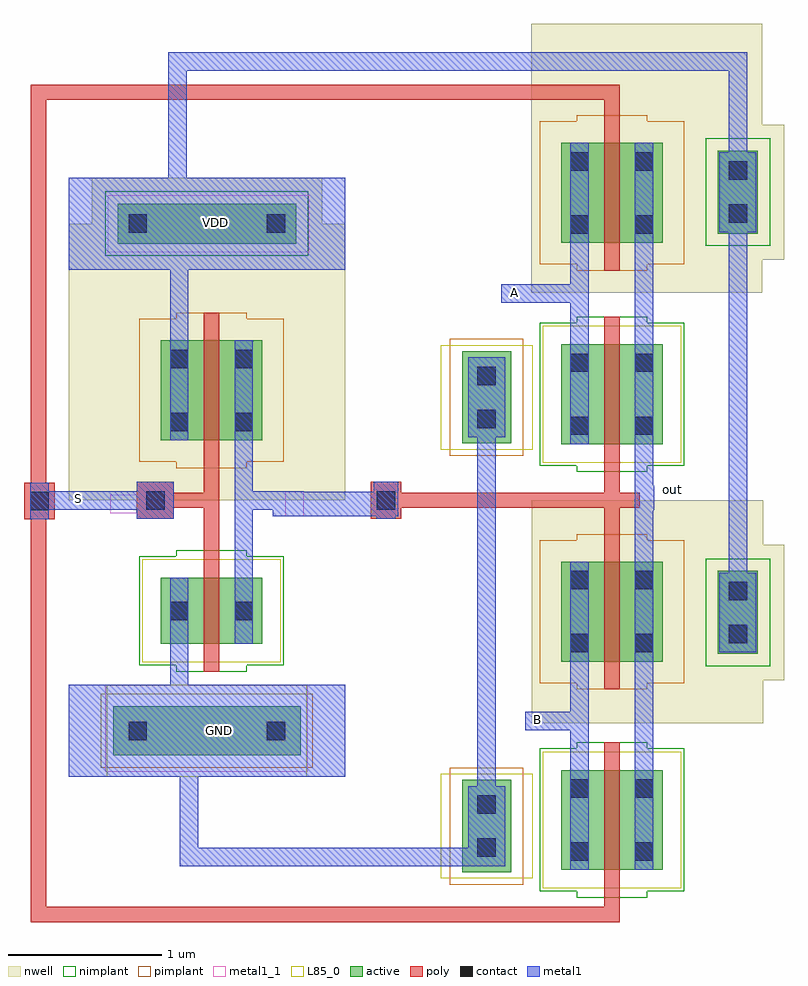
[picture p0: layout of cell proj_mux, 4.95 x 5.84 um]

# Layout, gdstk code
from math import pi, radians
import gdstk
lib = gdstk.Library(unit=1e-6, precision=5e-10)
def R(c, l, rs):  # rectangles x0, y0, x1, y1
    for r in rs: c.add(gdstk.rectangle(r[:2], r[2:], *l))
active = (1, 0)
nwell = (2, 0)
poly = (3, 0)
nimplant = (4, 0)
pimplant = (5, 0)
contact = (6, 0)
metal1 = (7, 0)
metal1_1 = (7, 1)
L85_0 = (85, 0)

pmos1v_cdns_591080892930 = lib.new_cell('pmos1v_CDNS_591080892930')
R(pmos1v_cdns_591080892930, active, [(-0.28,0,0,0.65), (0,0,0.1,0.65), (0.1,0,0.38,0.65)])
R(pmos1v_cdns_591080892930, nwell, [(-0.4,-0.12,0.5,0.77)])
R(pmos1v_cdns_591080892930, poly, [(0,-0.18,0.1,-0.1), (0,-0.1,0.1,0), (0,0,0.1,0.65), (0,0.65,0.1,0.75), (0,0.75,0.1,0.83)])
R(pmos1v_cdns_591080892930, pimplant, [(-0.18,-0.18,0.28,0.83), (-0.42,-0.14,0.52,0.79)])
R(pmos1v_cdns_591080892930, contact, [(-0.22,0.06,-0.1,0.18), (0.2,0.06,0.32,0.18), (-0.22,0.47,-0.1,0.59), (0.2,0.47,0.32,0.59)])
R(pmos1v_cdns_591080892930, metal1, [(-0.22,0,-0.1,0.65), (0.2,0,0.32,0.65)])

nmos1v_cdns_591080892931 = lib.new_cell('nmos1v_CDNS_591080892931')
R(nmos1v_cdns_591080892931, active, [(-0.28,0,0,0.65), (0,0,0.1,0.65), (0.1,0,0.38,0.65)])
R(nmos1v_cdns_591080892931, poly, [(0,-0.18,0.1,-0.1), (0,-0.1,0.1,0), (0,0,0.1,0.65), (0,0.65,0.1,0.75), (0,0.75,0.1,0.83)])
R(nmos1v_cdns_591080892931, nimplant, [(-0.18,-0.18,0.28,0.83), (-0.42,-0.14,0.52,0.79)])
R(nmos1v_cdns_591080892931, contact, [(-0.22,0.06,-0.1,0.18), (0.2,0.06,0.32,0.18), (-0.22,0.47,-0.1,0.59), (0.2,0.47,0.32,0.59)])
R(nmos1v_cdns_591080892931, metal1, [(-0.22,0,-0.1,0.65), (0.2,0,0.32,0.65)])
R(nmos1v_cdns_591080892931, L85_0, [(-0.4,-0.12,0.5,0.77)])

nmos1v_cdns_591080892932 = lib.new_cell('nmos1v_CDNS_591080892932')
R(nmos1v_cdns_591080892932, active, [(-0.28,0,0,0.43), (0,0,0.1,0.43), (0.1,0,0.38,0.43)])
R(nmos1v_cdns_591080892932, poly, [(0,-0.18,0.1,-0.1), (0,-0.1,0.1,0), (0,0,0.1,0.43), (0,0.43,0.1,0.53), (0,0.53,0.1,0.61)])
R(nmos1v_cdns_591080892932, nimplant, [(-0.18,-0.18,0.28,0.61), (-0.42,-0.14,0.52,0.57)])
R(nmos1v_cdns_591080892932, contact, [(-0.22,0.155,-0.1,0.275), (0.2,0.155,0.32,0.275)])
R(nmos1v_cdns_591080892932, metal1, [(-0.22,0,-0.1,0.43), (0.2,0,0.32,0.43)])
R(nmos1v_cdns_591080892932, L85_0, [(-0.4,-0.12,0.5,0.55)])

m1_pov_cdns_591080892933 = lib.new_cell('M1_POv_CDNS_591080892933')
R(m1_pov_cdns_591080892933, poly, [(-0.12,-0.12,0.12,0.12)])
R(m1_pov_cdns_591080892933, contact, [(-0.06,-0.06,0.06,0.06)])
R(m1_pov_cdns_591080892933, metal1, [(-0.12,-0.12,0.12,0.12)])

m1_psub_cdns_59108089293 = lib.new_cell('M1_PSUB_CDNS_591080892934')
R(m1_psub_cdns_59108089293, active, [(-0.61,-0.16,0.61,0.16)])
R(m1_psub_cdns_59108089293, pimplant, [(-0.69,-0.24,0.69,0.24)])
R(m1_psub_cdns_59108089293, contact, [(-0.51,-0.06,-0.39,0.06), (0.39,-0.06,0.51,0.06)])
R(m1_psub_cdns_59108089293, metal1, [(-0.57,-0.12,0.57,0.12)])
R(m1_psub_cdns_59108089293, L85_0, [(-0.65,-0.3,0.65,0.3)])

m1_nwell_cdns_5910808929 = lib.new_cell('M1_NWELL_CDNS_591080892935')
R(m1_nwell_cdns_5910808929, active, [(-0.58,-0.13,0.58,0.13)])
R(m1_nwell_cdns_5910808929, nwell, [(-0.75,-0.3,0.75,0.3)])
R(m1_nwell_cdns_5910808929, nimplant, [(-0.66,-0.21,0.66,0.21)])
R(m1_nwell_cdns_5910808929, contact, [(-0.51,-0.06,-0.39,0.06), (0.39,-0.06,0.51,0.06)])
R(m1_nwell_cdns_5910808929, metal1, [(-0.57,-0.12,0.57,0.12)])

unit_inv = lib.new_cell('unit_INV')
R(unit_inv, nwell, [(0,1.8,1.8,3.6)])
R(unit_inv, metal1, [(0,0,1.8,0.6), (0,3.3,1.8,3.9)])
R(unit_inv, metal1_1, [(0.24,0.035,1.555,0.595), (1.41,1.695,1.53,1.855), (0.27,1.715,0.445,1.835), (0.255,3.415,1.565,3.785)])
unit_inv.add(gdstk.FlexPath([(0.275,1.8),(0.62,1.8)], 0.12, ends="flush", simple_path=True, layer=7, datatype=0))  # metal1
unit_inv.add(gdstk.FlexPath([(0.72,0.895),(0.72,0.3)], 0.12, ends="flush", simple_path=True, layer=7, datatype=0))  # metal1
unit_inv.add(gdstk.FlexPath([(0.72,2.82),(0.72,3.6)], 0.12, ends="flush", simple_path=True, layer=7, datatype=0))  # metal1
unit_inv.add(gdstk.FlexPath([(1.14,1.8),(1.53,1.8)], 0.12, ends=(0.06, 0), simple_path=True, layer=7, datatype=0))  # metal1
unit_inv.add(gdstk.FlexPath([(1.14,1.8),(1.14,1.225)], 0.12, ends="extended", simple_path=True, layer=7, datatype=0))  # metal1
unit_inv.add(gdstk.FlexPath([(1.14,1.225),(1.145,1.225)], 0.12, ends=(0.06, 0), simple_path=True, layer=7, datatype=0))  # metal1
unit_inv.add(gdstk.FlexPath([(1.14,2.21),(1.14,1.8)], 0.12, ends=(0, 0.06), simple_path=True, layer=7, datatype=0))  # metal1
unit_inv.add(gdstk.FlexPath([(0.93,1.8),(0.45,1.8)], 0.1, ends=(0.05, 0), simple_path=True, layer=3, datatype=0))  # poly
unit_inv.add(gdstk.FlexPath([(0.93,1.8),(0.93,1.425)], 0.1, ends="extended", simple_path=True, layer=3, datatype=0))  # poly
unit_inv.add(gdstk.FlexPath([(0.93,1.425),(0.925,1.425)], 0.1, ends=(0.05, 0), simple_path=True, layer=3, datatype=0))  # poly
unit_inv.add(gdstk.FlexPath([(0.93,2.03),(0.93,1.8)], 0.1, ends=(0, 0.05), simple_path=True, layer=3, datatype=0))  # poly
unit_inv.add(gdstk.Reference(nmos1v_cdns_591080892932, (0.88,0.865)))
unit_inv.add(gdstk.Reference(pmos1v_cdns_591080892930, (0.88,2.19)))
unit_inv.add(gdstk.Reference(m1_pov_cdns_591080892933, (0.565,1.8)))
unit_inv.add(gdstk.Reference(m1_psub_cdns_59108089293, (0.9,0.3)))
unit_inv.add(gdstk.Reference(m1_nwell_cdns_5910808929, (0.9,3.6)))
unit_inv.add(gdstk.Label('in', (0.1525,1.775), layer=63, texttype=0))
unit_inv.add(gdstk.Label('out', (1.635,1.775), layer=63, texttype=0))
unit_inv.add(gdstk.Label('GND', (0.8975,0.315), layer=63, texttype=0))
unit_inv.add(gdstk.Label('VDD', (0.91,3.6), layer=63, texttype=0))

m1_pov_cdns_591080892930 = lib.new_cell('M1_POv_CDNS_591080892930')
R(m1_pov_cdns_591080892930, poly, [(-0.1,-0.12,0.1,0.12)])
R(m1_pov_cdns_591080892930, contact, [(-0.06,-0.06,0.06,0.06)])
R(m1_pov_cdns_591080892930, metal1, [(-0.06,-0.12,0.06,0.12)])

c_m1_nwell_cdns_5910808929 = lib.new_cell('M1_NWELL_CDNS_591080892931')
R(c_m1_nwell_cdns_5910808929, active, [(-0.13,-0.27,0.13,0.27)])
R(c_m1_nwell_cdns_5910808929, nwell, [(-0.3,-0.44,0.3,0.44)])
R(c_m1_nwell_cdns_5910808929, nimplant, [(-0.21,-0.35,0.21,0.35)])
R(c_m1_nwell_cdns_5910808929, contact, [(-0.06,-0.2,0.06,-0.08), (-0.06,0.08,0.06,0.2)])
R(c_m1_nwell_cdns_5910808929, metal1, [(-0.12,-0.26,0.12,0.26)])

c_m1_psub_cdns_59108089293 = lib.new_cell('M1_PSUB_CDNS_591080892932')
R(c_m1_psub_cdns_59108089293, active, [(-0.16,-0.3,0.16,0.3)])
R(c_m1_psub_cdns_59108089293, pimplant, [(-0.24,-0.38,0.24,0.38)])
R(c_m1_psub_cdns_59108089293, contact, [(-0.06,-0.2,0.06,-0.08), (-0.06,0.08,0.06,0.2)])
R(c_m1_psub_cdns_59108089293, metal1, [(-0.12,-0.26,0.12,0.26)])
R(c_m1_psub_cdns_59108089293, L85_0, [(-0.3,-0.34,0.3,0.34)])

proj_mux = lib.new_cell('proj_mux')
R(proj_mux, nwell, [(3.425,1.35,4.93,2.8), (3.42,4.15,4.925,5.9)])
R(proj_mux, metal1, [(0.8,1.07,2.07,1.515), (3.38,1.305,3.53,1.415), (4.095,2.735,4.22,2.895), (0.395,2.74,0.56,2.86), (3.225,4.085,3.41,4.205), (0.83,4.435,2.04,4.735)])
proj_mux.add(gdstk.FlexPath([(2.755,2.8),(2.475,2.8)], 0.1, ends="flush", simple_path=True, layer=3, datatype=0))  # poly
proj_mux.add(gdstk.FlexPath([(3.945,5.1),(3.945,5.455)], 0.1, ends=(0, 0.05), simple_path=True, layer=3, datatype=0))  # poly
proj_mux.add(gdstk.FlexPath([(3.945,0.105),(3.945,0.445)], 0.1, ends=(0.05, 0), simple_path=True, layer=3, datatype=0))  # poly
proj_mux.add(gdstk.FlexPath([(0.215,0.105),(3.945,0.105)], 0.1, ends="extended", simple_path=True, layer=3, datatype=0))  # poly
proj_mux.add(gdstk.FlexPath([(0.215,5.455),(0.215,0.105)], 0.1, ends="extended", simple_path=True, layer=3, datatype=0))  # poly
proj_mux.add(gdstk.FlexPath([(0.22,2.9),(0.22,2.685)], 0.1, ends="flush", simple_path=True, layer=3, datatype=0))  # poly
proj_mux.add(gdstk.FlexPath([(3.945,5.455),(0.215,5.455)], 0.1, ends="extended", simple_path=True, layer=3, datatype=0))  # poly
proj_mux.add(gdstk.FlexPath([(3.41,2.8),(2.755,2.8)], 0.1, ends="flush", simple_path=True, layer=3, datatype=0))  # poly
proj_mux.add(gdstk.FlexPath([(3.575,2.8),(2.815,2.8)], 0.1, ends="flush", simple_path=True, layer=3, datatype=0))  # poly
proj_mux.add(gdstk.FlexPath([(4.125,2.8),(3.575,2.8)], 0.1, ends="flush", simple_path=True, layer=3, datatype=0))  # poly
proj_mux.add(gdstk.FlexPath([(3.945,3),(3.945,2.495)], 0.1, ends="flush", simple_path=True, layer=3, datatype=0))  # poly
proj_mux.add(gdstk.FlexPath([(4.765,2.07),(4.765,4.805)], 0.12, ends="flush", simple_path=True, layer=7, datatype=0))  # metal1
proj_mux.add(gdstk.FlexPath([(1.12,5.655),(1.12,4.415)], 0.12, ends=(0.06, 0), simple_path=True, layer=7, datatype=0))  # metal1
proj_mux.add(gdstk.FlexPath([(4.765,5.655),(1.12,5.655)], 0.12, ends="extended", simple_path=True, layer=7, datatype=0))  # metal1
proj_mux.add(gdstk.FlexPath([(4.765,4.805),(4.765,5.655)], 0.12, ends=(0, 0.06), simple_path=True, layer=7, datatype=0))  # metal1
proj_mux.add(gdstk.FlexPath([(2.475,2.8),(2.475,2.775)], 0.16, ends=(0.12, 0.08), simple_path=True, layer=7, datatype=0))  # metal1
proj_mux.add(gdstk.FlexPath([(2.475,2.775),(1.74,2.775)], 0.16, ends=(0.08, 0), simple_path=True, layer=7, datatype=0))  # metal1
proj_mux.add(gdstk.FlexPath([(1.195,0.48),(1.195,1.515)], 0.12, ends=(0.06, 0), simple_path=True, layer=7, datatype=0))  # metal1
proj_mux.add(gdstk.FlexPath([(2.97,0.48),(1.195,0.48)], 0.12, ends=(0.12, 0.06), simple_path=True, layer=7, datatype=0))  # metal1
proj_mux.add(gdstk.FlexPath([(3.735,1.365),(3.735,1.75)], 0.12, ends=(0.06, 0), simple_path=True, layer=7, datatype=0))  # metal1
proj_mux.add(gdstk.FlexPath([(3.13,0.68),(3.13,3.47)], 0.12, ends="flush", simple_path=True, layer=7, datatype=0))  # metal1
proj_mux.add(gdstk.FlexPath([(3.735,0.99),(3.735,1.365)], 0.12, ends=(0, 0.06), simple_path=True, layer=7, datatype=0))  # metal1
proj_mux.add(gdstk.FlexPath([(3.735,1.365),(3.38,1.365)], 0.12, ends=(0.06, 0), simple_path=True, layer=7, datatype=0))  # metal1
proj_mux.add(gdstk.FlexPath([(3.735,4.145),(3.225,4.145)], 0.12, ends=(0.06, 0), simple_path=True, layer=7, datatype=0))  # metal1
proj_mux.add(gdstk.FlexPath([(3.735,4.145),(3.735,3.755)], 0.12, ends="extended", simple_path=True, layer=7, datatype=0))  # metal1
proj_mux.add(gdstk.FlexPath([(3.735,3.755),(3.675,3.755)], 0.12, ends=(0.06, 0), simple_path=True, layer=7, datatype=0))  # metal1
proj_mux.add(gdstk.FlexPath([(3.735,4.53),(3.735,4.145)], 0.12, ends=(0, 0.06), simple_path=True, layer=7, datatype=0))  # metal1
proj_mux.add(gdstk.FlexPath([(0.22,2.8),(0.22,2.77)], 0.12, ends=(0.06, 0), simple_path=True, layer=7, datatype=0))  # metal1
proj_mux.add(gdstk.FlexPath([(0.8,2.8),(0.22,2.8)], 0.12, ends=(0, 0.06), simple_path=True, layer=7, datatype=0))  # metal1
proj_mux.add(gdstk.FlexPath([(4.155,1.865),(4.155,1.045)], 0.12, ends="flush", simple_path=True, layer=7, datatype=0))  # metal1
proj_mux.add(gdstk.FlexPath([(4.155,3.255),(4.155,2.4)], 0.12, ends="flush", simple_path=True, layer=7, datatype=0))  # metal1
proj_mux.add(gdstk.FlexPath([(4.155,4.475),(4.155,3.815)], 0.12, ends="flush", simple_path=True, layer=7, datatype=0))  # metal1
proj_mux.add(gdstk.FlexPath([(3.13,0.68),(3.13,0.48)], 0.24, ends=(0, 0.06), simple_path=True, layer=7, datatype=0))  # metal1
proj_mux.add(gdstk.Reference(pmos1v_cdns_591080892930, (3.995,1.75), rotation=pi, x_reflection=True))
proj_mux.add(gdstk.Reference(pmos1v_cdns_591080892930, (3.995,4.475), rotation=pi, x_reflection=True))
proj_mux.add(gdstk.Reference(nmos1v_cdns_591080892931, (3.995,0.395), rotation=pi, x_reflection=True))
proj_mux.add(gdstk.Reference(nmos1v_cdns_591080892931, (3.995,3.165), rotation=pi, x_reflection=True))
proj_mux.add(gdstk.Reference(unit_inv, (0.41,1)))
proj_mux.add(gdstk.Reference(m1_pov_cdns_591080892930, (0.22,2.795)))
proj_mux.add(gdstk.Reference(m1_pov_cdns_591080892930, (2.475,2.8)))
proj_mux.add(gdstk.Reference(c_m1_nwell_cdns_5910808929, (4.765,2.07)))
proj_mux.add(gdstk.Reference(c_m1_nwell_cdns_5910808929, (4.765,4.805)))
proj_mux.add(gdstk.Reference(c_m1_psub_cdns_59108089293, (3.13,0.68)))
proj_mux.add(gdstk.Reference(c_m1_psub_cdns_59108089293, (3.13,3.47)))
proj_mux.add(gdstk.Label('S', (0.475,2.81), layer=63, texttype=0))
proj_mux.add(gdstk.Label('B', (3.46,1.375), layer=63, texttype=0))
proj_mux.add(gdstk.Label('A', (3.31,4.15), layer=63, texttype=0))
proj_mux.add(gdstk.Label('out', (4.34,2.87), layer=63, texttype=0))
proj_mux.add(gdstk.Label('GND', (1.395,1.3), layer=63, texttype=0))
proj_mux.add(gdstk.Label('VDD', (1.365,4.61), layer=63, texttype=0))

lib.write_gds('proj_mux.gds')
